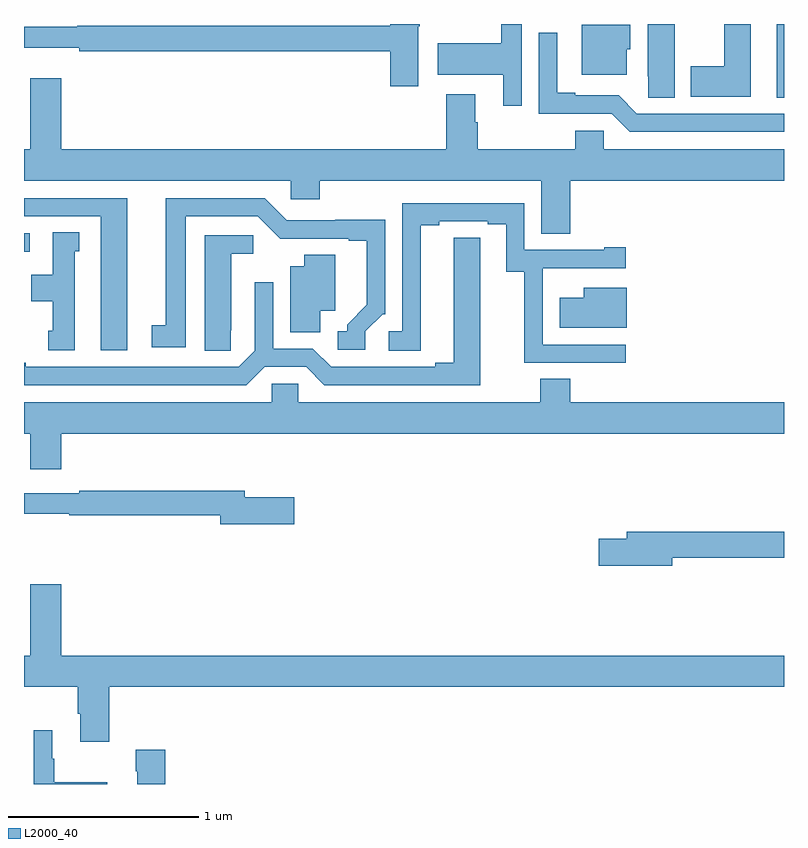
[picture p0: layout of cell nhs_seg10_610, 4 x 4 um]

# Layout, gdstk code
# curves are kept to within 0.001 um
import gdstk
lib = gdstk.Library(unit=1e-6, precision=1e-09)
def R(c, l, rs):  # rectangles x0, y0, x1, y1
    for r in rs: c.add(gdstk.rectangle(r[:2], r[2:], *l))
def P(c, l, *ps):  # polygons
    for p in ps: c.add(gdstk.Polygon(p, *l))
L2000_40 = (2000, 40)

nhs_seg10_610 = lib.new_cell('nhs_seg10_610')
R(nhs_seg10_610, L2000_40, [(141,1273.302,141.031,1273.398), (144.962,1274.113,145,1274.5)])
P(nhs_seg10_610, L2000_40, [(143.619,1274.5),(143.511,1274.5),(143.511,1274.4),(143.178,1274.4),(143.178,1274.234),(143.522,1274.234),(143.522,1274.07),(143.619,1274.07)],
  [(143.074,1274.488),(143.082,1274.488),(143.082,1274.5),(142.928,1274.5),(142.928,1274.492),(141.281,1274.492),(141.281,1274.485),(141,1274.485),(141,1274.375),(141.292,1274.375),(141.292,1274.356),(142.928,1274.356),(142.928,1274.172),(143.074,1274.172)],
  [(144.424,1274.5),(144.284,1274.5),(144.284,1274.224),(144.285,1274.224),(144.285,1274.113),(144.424,1274.113)],
  [(144.826,1274.5),(144.686,1274.5),(144.686,1274.277),(144.509,1274.277),(144.509,1274.117),(144.826,1274.117)],
  [(144.172,1274.367),(144.19,1274.367),(144.19,1274.497),(143.936,1274.497),(143.936,1274.234),(144.172,1274.234)],
  [(145,1274.028),(144.225,1274.028),(144.129,1274.124),(143.902,1274.124),(143.902,1274.137),(143.806,1274.137),(143.806,1274.455),(143.709,1274.455),(143.709,1274.028),(144.093,1274.028),(144.189,1273.932),(145,1273.932)],
  [(143.876,1273.676),(145,1273.676),(145,1273.84),(144.051,1273.84),(144.051,1273.938),(143.9,1273.938),(143.9,1273.84),(143.387,1273.84),(143.387,1273.982),(143.374,1273.982),(143.374,1274.131),(143.222,1274.131),(143.222,1273.84),(141.196,1273.84),(141.196,1274.215),(141.032,1274.215),(141.032,1273.84),(141,1273.84),(141,1273.676),(142.404,1273.676),(142.404,1273.578),(142.556,1273.578),(142.556,1273.676),(143.723,1273.676),(143.723,1273.396),(143.876,1273.396)],
  [(142.797,1272.882),(142.887,1272.972),(142.902,1272.972),(142.902,1273.469),(142.639,1273.469),(142.639,1273.467),(142.383,1273.467),(142.266,1273.584),(141.746,1273.584),(141.746,1272.914),(141.672,1272.914),(141.672,1272.798),(141.85,1272.798),(141.85,1273.488),(142.23,1273.488),(142.348,1273.37),(142.709,1273.371),(142.709,1273.359),(142.805,1273.359),(142.805,1273.022),(142.7,1272.917),(142.7,1272.882),(142.65,1272.882),(142.65,1272.786),(142.797,1272.786)],
  [(141.544,1273.584),(141,1273.584),(141,1273.488),(141.404,1273.488),(141.404,1272.783),(141.544,1272.783)],
  [(144.166,1272.813),(143.73,1272.813),(143.73,1273.214),(143.732,1273.214),(143.732,1273.215),(144.166,1273.215),(144.166,1273.324),(144.053,1273.324),(144.053,1273.311),(143.634,1273.311),(143.634,1273.557),(142.992,1273.557),(142.992,1272.882),(142.92,1272.882),(142.92,1272.781),(143.089,1272.781),(143.089,1273.441),(143.185,1273.441),(143.185,1273.461),(143.441,1273.461),(143.441,1273.446),(143.537,1273.446),(143.537,1273.195),(143.632,1273.195),(143.632,1272.717),(144.166,1272.717)],
  [(141.268,1273.305),(141.292,1273.305),(141.292,1273.403),(141.152,1273.403),(141.152,1273.18),(141.038,1273.18),(141.038,1273.04),(141.152,1273.04),(141.152,1272.885),(141.128,1272.885),(141.128,1272.783),(141.268,1272.783)],
  [(142.089,1272.889),(142.09,1272.889),(142.09,1273.292),(142.207,1273.292),(142.207,1273.389),(141.95,1273.389),(141.95,1272.781),(142.089,1272.781)],
  [(142.267,1272.696),(142.485,1272.696),(142.581,1272.6),(143.401,1272.6),(143.4,1273.376),(143.261,1273.376),(143.261,1272.716),(143.165,1272.716),(143.165,1272.696),(142.617,1272.696),(142.521,1272.792),(142.311,1272.792),(142.311,1273.141),(142.215,1273.141),(142.215,1272.78),(142.131,1272.696),(141.01,1272.696),(141.01,1272.716),(141,1272.716),(141,1272.6),(142.171,1272.6)],
  [(142.558,1272.992),(142.639,1272.992),(142.639,1273.286),(142.475,1273.286),(142.475,1273.225),(142.4,1273.225),(142.4,1272.877),(142.558,1272.877)],
  [(144.172,1273.111),(143.945,1273.111),(143.945,1273.06),(143.82,1273.06),(143.82,1272.902),(144.172,1272.902)],
  [(141.196,1272.344),(145,1272.344),(145,1272.508),(143.876,1272.508),(143.876,1272.632),(143.716,1272.632),(143.716,1272.508),(142.443,1272.508),(142.443,1272.606),(142.305,1272.606),(142.305,1272.508),(141,1272.508),(141,1272.344),(141.032,1272.344),(141.032,1272.156),(141.196,1272.156)],
  [(142.423,1272.009),(142.162,1272.009),(142.162,1272.043),(141.292,1272.043),(141.292,1272.03),(141,1272.03),(141,1271.922),(141.238,1271.922),(141.238,1271.914),(142.034,1271.914),(142.034,1271.867),(142.423,1271.867)],
  [(144.412,1271.692),(145,1271.692),(145,1271.828),(144.173,1271.828),(144.173,1271.792),(144.024,1271.792),(144.024,1271.65),(144.412,1271.65)],
  [(141.449,1271.012),(145,1271.012),(145,1271.176),(141.196,1271.176),(141.196,1271.551),(141.032,1271.551),(141.032,1271.176),(141,1271.176),(141,1271.012),(141.284,1271.012),(141.284,1270.87),(141.296,1270.87),(141.296,1270.722),(141.449,1270.722)],
  [(141.439,1270.51),(141.16,1270.51),(141.16,1270.634),(141.148,1270.634),(141.148,1270.783),(141.051,1270.783),(141.051,1270.5),(141.439,1270.5)],
  [(141.743,1270.681),(141.589,1270.681),(141.589,1270.568),(141.596,1270.568),(141.596,1270.5),(141.743,1270.5)])

lib.write_gds('nhs_seg10_610.gds')
